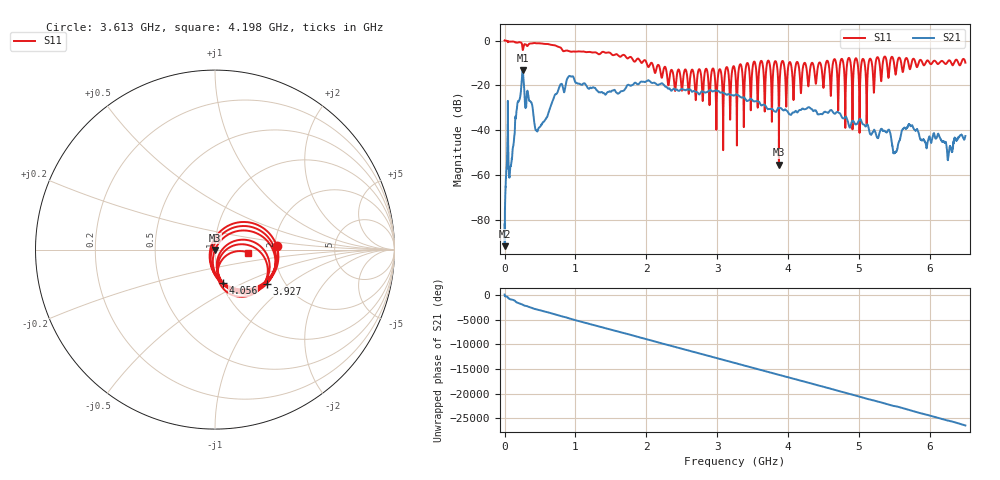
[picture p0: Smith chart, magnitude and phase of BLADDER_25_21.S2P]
!Keysight Technologies,E5063A,MY54503115,A.05.08
!Date: Sun Feb 04 18:52:59 2024
!Data & Calibration Information:
!Freq	S11:NONE(--)	S21:NONE(--)	S12:NONE(--)	S22:NONE(--)
# Hz S dB R 50
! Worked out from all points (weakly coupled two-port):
!   10001 points, 100 kHz to 6.5 GHz, reference 50 ohm
!   highest |S21| = -13.15 dB at 253.6 MHz (marker M1); lowest = -91.8 dB at 2.05 MHz (marker M2)
!   lowest |S11| = -55.4 dB at 3.869 GHz (marker M3), VSWR 1.00, Z = 50 - j0.17 ohm
!   |S11| at or under -10 dB: 2.077 GHz to 3.51 GHz (1.433 GHz wide, 51.3 % of centre); 4.238 GHz to 4.333 GHz (95.19 MHz wide, 2.22 % of centre); 4.343 GHz to 4.435 GHz (91.73 MHz wide, 2.09 % of centre) (the widest 3 of 32)
!   S12 and S22 are empty: the file has one direction only
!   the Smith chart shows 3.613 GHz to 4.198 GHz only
!   S11 on the Smith chart (normalised r, x): 3.613 GHz: 2.05, +0.09; 3.927 GHz: 1.63, -0.70; 4.056 GHz: 1.01, -0.39; 4.198 GHz: 1.45, -0.05
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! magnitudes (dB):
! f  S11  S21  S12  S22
! 100 kHz  0.0  -82.1  -  -
! 2.05 MHz  0.0  -91.8  -  -
! 40.4 MHz  -0.2  -44.6  -  -
! 94.35 MHz  -0.4  -54.8  -  -
! 253.6 MHz  -3.8  -13.2  -  -
! 461.6 MHz  -1.2  -40.6  -  -
! 904.2 MHz  -4.7  -16.0  -  -
! 1.084 GHz  -4.9  -19.7  -  -
! 2.167 GHz  -10.8  -19.8  -  -
! 3.25 GHz  -13.5  -24.3  -  -
! 3.613 GHz  -9.2  -28.7  -  -
! 3.822 GHz  -9.2  -31.8  -  -
! 3.869 GHz  -55.4  -29.9  -  -
! 3.927 GHz  -9.2  -31.1  -  -
! 4.056 GHz  -14.4  -32.4  -  -
! 4.198 GHz  -14.7  -30.4  -  -
! 4.334 GHz  -10.0  -30.6  -  -
! 5.417 GHz  -16.4  -39.7  -  -
! 5.508 GHz  -14.0  -49.9  -  -
! 5.719 GHz  -12.8  -37.9  -  -
! 6.274 GHz  -8.8  -47.9  -  -
! 6.5 GHz  -9.9  -42.6  -  -
